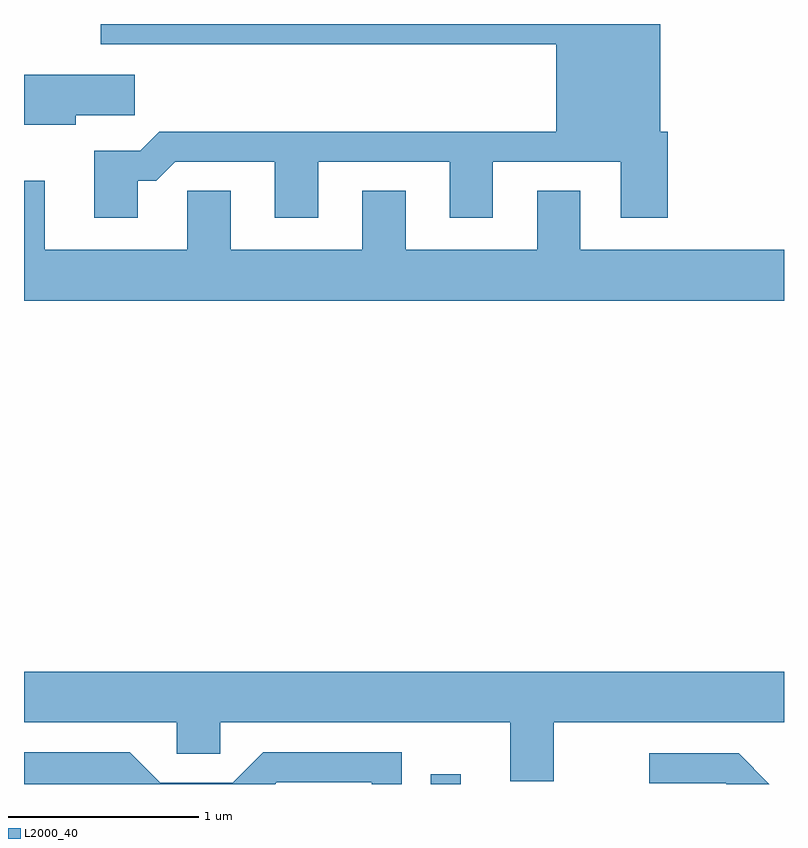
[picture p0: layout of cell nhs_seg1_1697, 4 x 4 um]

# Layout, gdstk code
import gdstk
lib = gdstk.Library(unit=1e-6, precision=1e-09)
def R(c, l, rs):  # rectangles x0, y0, x1, y1
    for r in rs: c.add(gdstk.rectangle(r[:2], r[2:], *l))
def P(c, l, *ps):  # polygons
    for p in ps: c.add(gdstk.Polygon(p, *l))
L2000_40 = (2000, 40)

nhs_seg1_1697 = lib.new_cell('nhs_seg1_1697')
R(nhs_seg1_1697, L2000_40, [(239.751,883.712,239.909,883.763)])
P(nhs_seg1_1697, L2000_40, [(238.209,886.886),(238.307,886.886),(238.407,886.986),(238.931,886.986),(238.931,886.691),(239.159,886.691),(239.159,886.986),(239.851,886.986),(239.851,886.691),(240.079,886.691),(240.079,886.986),(240.751,886.986),(240.751,886.691),(240.999,886.691),(240.999,887.144),(240.959,887.144),(240.959,887.712),(238.016,887.712),(238.016,887.606),(240.411,887.606),(240.411,887.144),(238.324,887.144),(238.224,887.044),(237.981,887.044),(237.981,886.691),(238.209,886.691)],
  [(237.884,887.231),(238.194,887.231),(238.194,887.444),(237.611,887.444),(237.611,887.181),(237.884,887.181)],
  [(241.611,886.524),(240.539,886.524),(240.539,886.834),(240.311,886.834),(240.311,886.524),(239.619,886.524),(239.619,886.834),(239.391,886.834),(239.391,886.524),(238.699,886.524),(238.699,886.834),(238.471,886.834),(238.471,886.524),(237.719,886.524),(237.719,886.888),(237.611,886.888),(237.611,886.256),(241.611,886.256)],
  [(240.399,884.036),(241.611,884.036),(241.611,884.304),(237.611,884.304),(237.611,884.036),(238.416,884.036),(238.416,883.871),(238.644,883.871),(238.644,884.036),(240.171,884.036),(240.171,883.726),(240.399,883.726)],
  [(238.942,883.721),(239.441,883.721),(239.441,883.712),(239.599,883.712),(239.599,883.879),(238.869,883.879),(238.709,883.719),(238.327,883.719),(238.167,883.879),(237.611,883.879),(237.611,883.712),(238.933,883.712)],
  [(241.372,883.874),(240.903,883.874),(240.903,883.716),(241.304,883.716),(241.308,883.712),(241.534,883.712)])

lib.write_gds('nhs_seg1_1697.gds')
